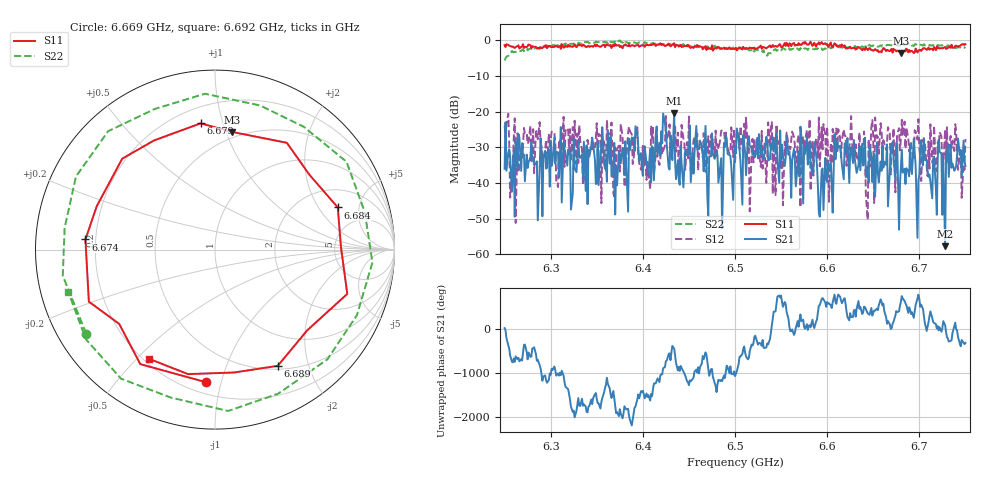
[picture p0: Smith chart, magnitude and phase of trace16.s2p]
# Hz S RI R 50
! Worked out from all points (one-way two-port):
!   401 points, 6.25 GHz to 6.75 GHz, reference 50 ohm
!   highest |S21| = -20.36 dB at 6.434 GHz (marker M1); lowest = -57.7 dB at 6.728 GHz (marker M2)
!   lowest |S11| = -3.6 dB at 6.68 GHz (marker M3), VSWR 4.92, Z = 22.5 + j52.6 ohm
!   |S11| at or under -10 dB: nowhere
!   |S22| runs from -5.6 to 0.0 dB; largest |S21 - S12| = 0.11
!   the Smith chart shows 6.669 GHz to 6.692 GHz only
!   S11 on the Smith chart (normalised r, x): 6.669 GHz: 0.27, -0.89; 6.674 GHz: 0.16, +0.04; 6.679 GHz: 0.30, +0.85; 6.684 GHz: 3.07, +3.03; 6.689 GHz: 0.54, -1.54; 6.692 GHz: 0.22, -0.54
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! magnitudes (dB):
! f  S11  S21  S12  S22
! 6.25 GHz  -1.3  -36.0  -23.9  -5.6
! 6.265 GHz  -1.4  -26.3  -37.0  -3.0
! 6.286 GHz  -2.1  -50.5  -27.7  -2.2
! 6.334 GHz  -1.6  -32.0  -30.5  -0.9
! 6.418 GHz  -1.1  -28.7  -34.9  -1.1
! 6.434 GHz  -0.8  -20.4  -30.0  -1.2
! 6.5 GHz  -2.5  -29.8  -34.2  -2.5
! 6.584 GHz  -1.5  -37.6  -28.1  -2.4
! 6.594 GHz  -0.5  -36.5  -24.4  -2.3
! 6.61 GHz  -1.6  -29.2  -24.7  -2.0
! 6.644 GHz  -2.7  -35.3  -50.4  -2.1
! 6.648 GHz  -2.7  -32.3  -24.2  -1.6
! 6.668 GHz  -3.0  -36.5  -26.2  -1.3
! 6.669 GHz  -2.6  -30.7  -37.6  -1.3
! 6.674 GHz  -2.8  -39.1  -42.6  -1.0
! 6.679 GHz  -3.0  -40.5  -30.9  -1.5
! 6.68 GHz  -3.6  -35.5  -27.7  -1.1
! 6.684 GHz  -2.8  -36.0  -22.8  -1.2
! 6.689 GHz  -2.7  -38.1  -31.2  -1.3
! 6.692 GHz  -3.0  -37.5  -31.4  -1.4
! 6.728 GHz  -1.8  -57.7  -25.0  -1.5
! 6.75 GHz  -1.1  -35.2  -27.7  -2.2
